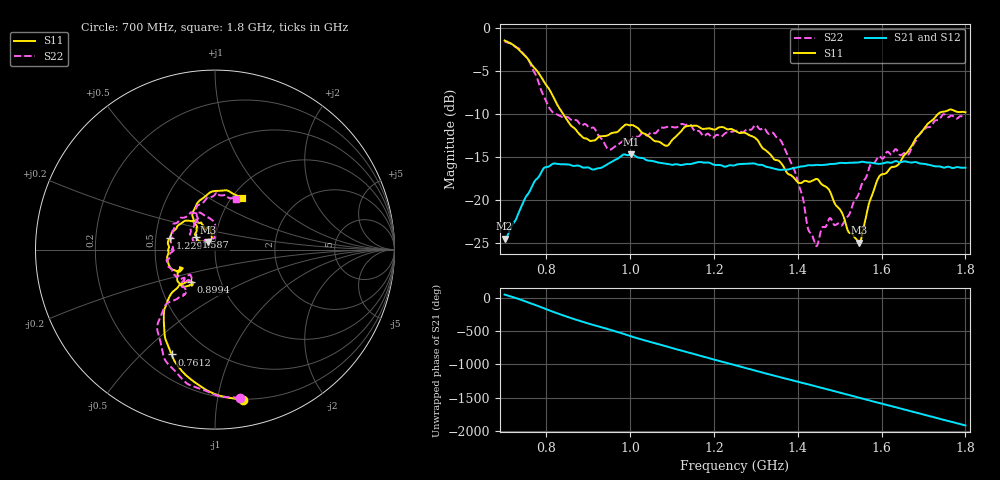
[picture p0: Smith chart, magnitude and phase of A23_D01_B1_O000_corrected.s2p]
! Created with skrf 1.9.0 (http://scikit-rf.org).
# Hz S RI R 50.0
!freq ReS11 ImS11 ReS21 ImS21 ReS12 ImS12 ReS22 ImS22
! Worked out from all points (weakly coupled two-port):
!   1601 points, 700 MHz to 1.8 GHz, reference 50 ohm
!   highest |S21| = -14.69 dB at 1.002 GHz (marker M1); lowest = -24.5 dB at 700 MHz (marker M2)
!   lowest |S11| = -25.0 dB at 1.547 GHz (marker M3), VSWR 1.12, Z = 46.3 + j3.98 ohm
!   |S11| at or under -10 dB: 840 MHz to 1.734 GHz (894.1 MHz wide, 69.5 % of centre)
!   |S22| runs from -25.4 to -1.5 dB; largest |S21 - S12| = 0.0037
!   S11 on the Smith chart (normalised r, x): 700 MHz: 0.20, -1.19; 761.2 MHz: 0.32, -0.62; 899.4 MHz: 0.72, -0.27; 1.229 GHz: 0.59, +0.08; 1.587 GHz: 0.80, +0.11; 1.8 GHz: 1.11, +0.71
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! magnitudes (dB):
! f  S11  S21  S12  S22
! 700 MHz  -1.4  -24.5  -24.3  -1.5
! 761.2 MHz  -4.0  -18.9  -18.8  -4.1
! 811.4 MHz  -7.5  -15.9  -15.8  -9.6
! 883.6 MHz  -12.6  -16.1  -16.0  -11.3
! 899.4 MHz  -13.0  -16.2  -16.3  -11.5
! 949.6 MHz  -12.4  -15.7  -15.7  -14.1
! 1.002 GHz  -11.3  -14.7  -14.8  -12.9
! 1.067 GHz  -13.2  -15.6  -15.6  -11.8
! 1.229 GHz  -11.7  -16.1  -16.0  -12.2
! 1.25 GHz  -11.9  -16.0  -15.9  -12.0
! 1.359 GHz  -15.7  -16.5  -16.5  -13.1
! 1.394 GHz  -17.6  -16.2  -16.2  -16.8
! 1.434 GHz  -17.8  -16.0  -15.9  -24.1
! 1.445 GHz  -17.5  -15.9  -15.9  -25.4
! 1.476 GHz  -18.9  -15.8  -15.8  -22.2
! 1.506 GHz  -21.6  -15.7  -15.7  -22.9
! 1.547 GHz  -25.0  -15.6  -15.6  -19.0
! 1.587 GHz  -18.0  -15.8  -15.8  -15.3
! 1.617 GHz  -16.5  -15.6  -15.6  -14.5
! 1.663 GHz  -14.3  -15.6  -15.6  -14.7
! 1.737 GHz  -9.9  -16.1  -16.1  -10.7
! 1.8 GHz  -9.8  -16.2  -16.2  -10.4
